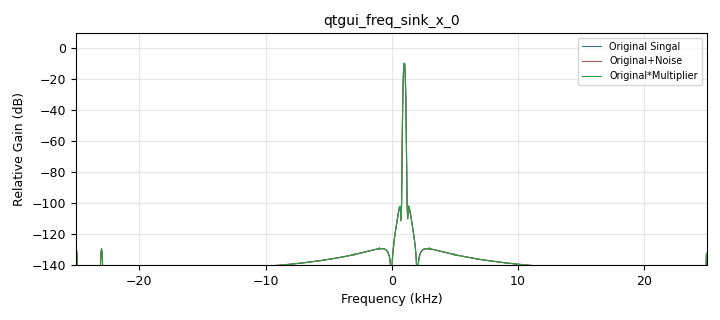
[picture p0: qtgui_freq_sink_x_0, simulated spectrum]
options:
  parameters:
    generate_options: qt_gui
    id: lab4_1
    output_language: python
    title: lab4_1
  states: {}

blocks:
- name: mul_sig_freq
  id: variable_qtgui_range
  parameters:
    label: Multiplied Signal Frequency
    start: '0'
    step: '500'
    stop: '10000'
    value: '0'
  states: {}
- name: noise_amp
  id: variable_qtgui_range
  parameters:
    label: Noise Amplitude
    start: '0'
    step: '0.01'
    stop: '1'
    value: '0'
  states: {}
- name: samp_rate
  id: variable
  parameters:
    value: '50000'
  states: {}
- name: analog_noise_source_x_0
  id: analog_noise_source_x
  parameters:
    amp: noise_amp
    noise_type: analog.GR_GAUSSIAN
    seed: '0'
    type: complex
  states: {}
- name: analog_sig_source_x_0
  id: analog_sig_source_x
  parameters:
    alias: Original SIgnal
    amp: '1'
    freq: '1000'
    offset: '0'
    phase: '0'
    samp_rate: samp_rate
    type: complex
    waveform: analog.GR_COS_WAVE
  states: {}
- name: analog_sig_source_x_0_0
  id: analog_sig_source_x
  parameters:
    amp: '1'
    freq: mul_sig_freq
    offset: '0'
    phase: '0'
    samp_rate: samp_rate
    type: complex
    waveform: analog.GR_COS_WAVE
  states: {}
- name: blocks_add_xx_0
  id: blocks_add_xx
  parameters:
    type: complex
  states: {}
- name: blocks_multiply_xx_0
  id: blocks_multiply_xx
  parameters:
    type: complex
  states: {}
- name: qtgui_freq_sink_x_0
  id: qtgui_freq_sink_x
  parameters:
    average: '0.2'
    bw: samp_rate
    fc: '0'
    fftsize: '1024'
    label1: Original Singal
    label2: Original+Noise
    label3: Original*Multiplier
    nconnections: '3'
    type: complex
  states: {}

connections:
- [analog_noise_source_x_0, '0', blocks_add_xx_0, '1']
- [analog_sig_source_x_0, '0', blocks_add_xx_0, '0']
- [analog_sig_source_x_0, '0', blocks_multiply_xx_0, '0']
- [analog_sig_source_x_0, '0', qtgui_freq_sink_x_0, '0']
- [analog_sig_source_x_0_0, '0', blocks_multiply_xx_0, '1']
- [blocks_add_xx_0, '0', qtgui_freq_sink_x_0, '1']
- [blocks_multiply_xx_0, '0', qtgui_freq_sink_x_0, '2']

metadata:
  file_format: 1
  grc_version: 3.10.5.1
